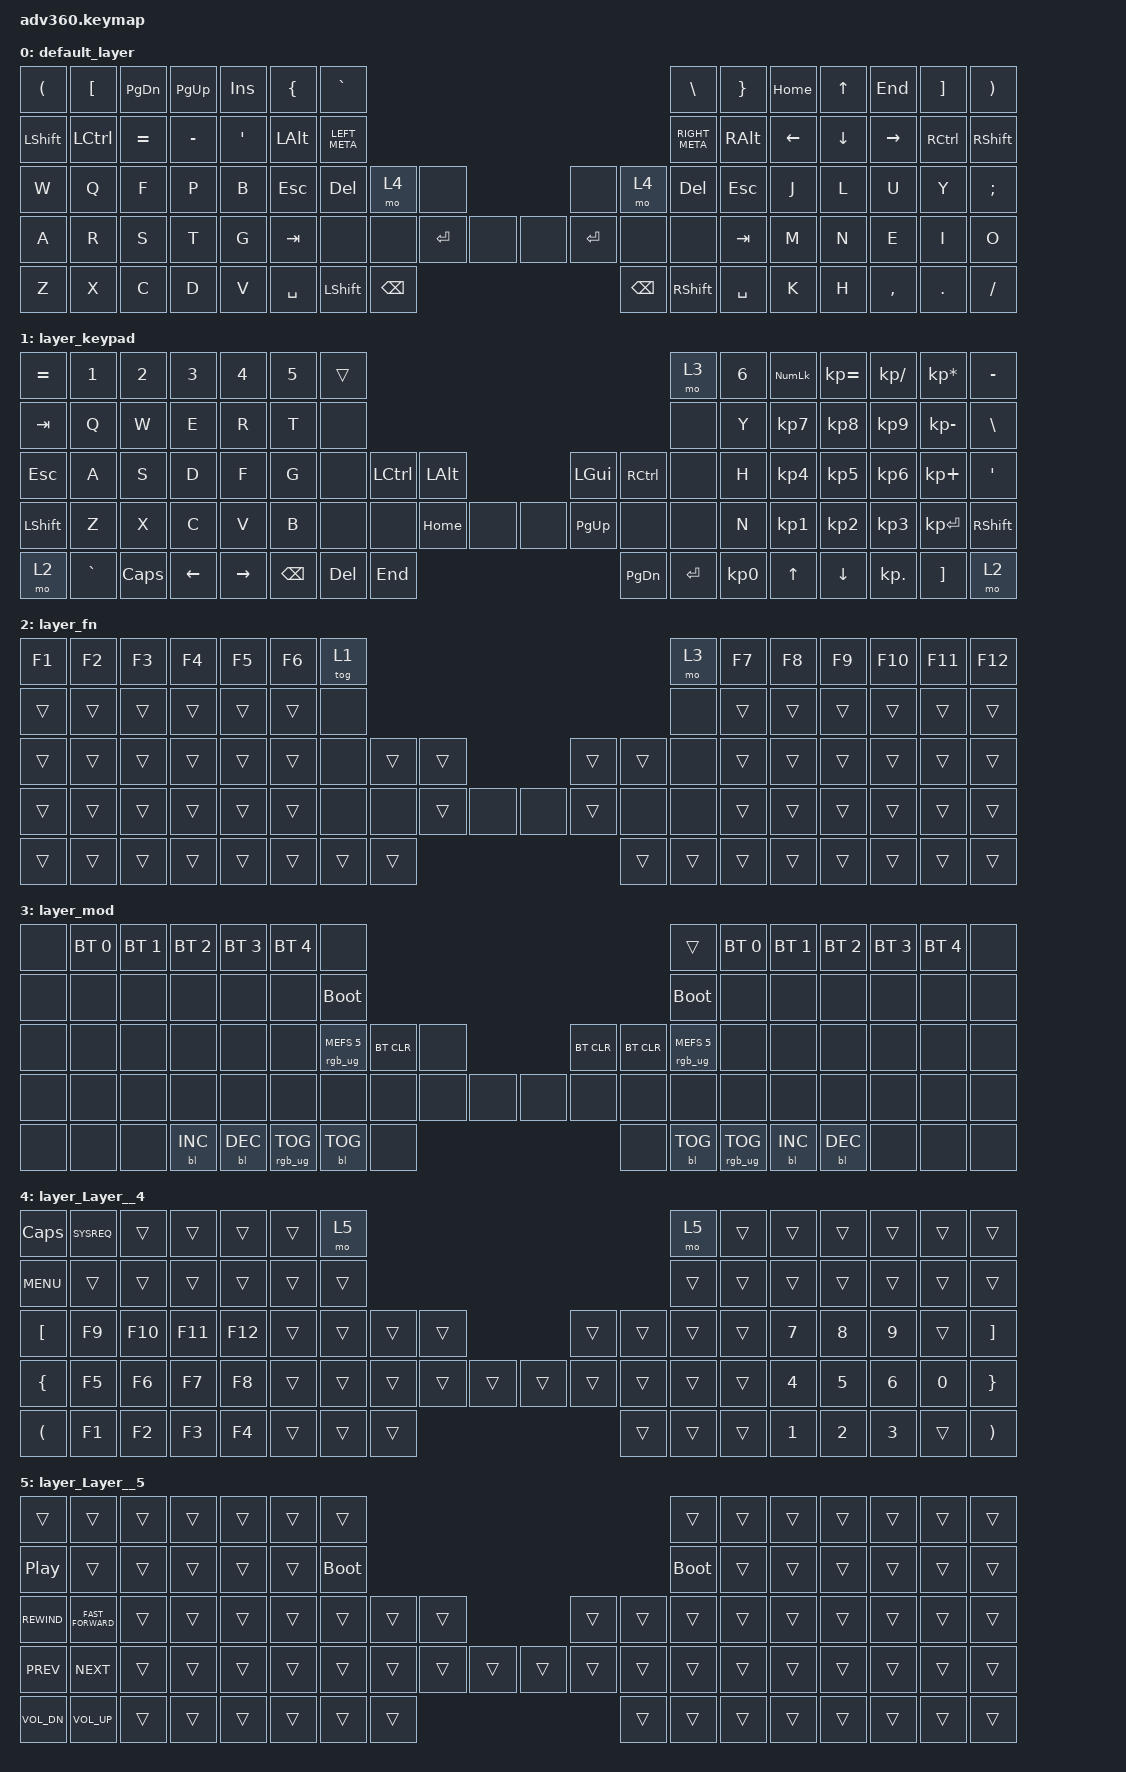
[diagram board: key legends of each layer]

/*
 * Copyright (c) 2020 The ZMK Contributors
 *
 * SPDX-License-Identifier: MIT
 */


/* THIS FILE WAS GENERATED!
 *
 * This file was generated automatically. You may or may not want to
 * edit it directly.
 */

#include <behaviors.dtsi>
#include <dt-bindings/zmk/keys.h>
#include <dt-bindings/zmk/bt.h>
#include <dt-bindings/zmk/rgb.h>
#include <dt-bindings/zmk/backlight.h>

/ {
  behaviors {
    #include "macros.dtsi"

    hm: homerow_mods {
        compatible = "zmk,behavior-hold-tap";
        label = "HOMEROW_MODS";
        #binding-cells = <2>;
        tapping-term-ms = <200>;
        quick_tap_ms = <175>;
        flavor = "tap-preferred";
        bindings = <&kp>, <&kp>;
    };
  };

    keymap {
        compatible = "zmk,keymap";


        default_layer {
            bindings = <
 &kp LEFT_PARENTHESIS  &kp LEFT_BRACKET  &kp PG_DN  &kp PG_UP           &kp INS  &kp LEFT_BRACE                &kp GRAVE                                                                                  &kp BACKSLASH  &kp RIGHT_BRACE        &kp HOME    &kp UP_ARROW          &kp END  &kp RIGHT_BRACKET  &kp RIGHT_PARENTHESIS
       &kp LEFT_SHIFT  &kp LEFT_CONTROL  &kp EQUAL  &kp MINUS  &kp SINGLE_QUOTE    &kp LEFT_ALT            &kp LEFT_META                                                                                 &kp RIGHT_META    &kp RIGHT_ALT  &kp LEFT_ARROW  &kp DOWN_ARROW  &kp RIGHT_ARROW  &kp RIGHT_CONTROL        &kp RIGHT_SHIFT
                &kp W             &kp Q      &kp F      &kp P             &kp B         &kp ESC                  &kp DEL           &mo 4          &none                          &none            &mo 4         &kp DEL          &kp ESC           &kp J           &kp L            &kp U              &kp Y          &kp SEMICOLON
                &kp A             &kp R      &kp S      &kp T             &kp G         &kp TAB                    &none           &none      &kp ENTER   &none   &none      &kp ENTER            &none           &none          &kp TAB           &kp M           &kp N            &kp E              &kp I                  &kp O
                &kp Z             &kp X      &kp C      &kp D             &kp V                                &kp SPACE  &kp LEFT_SHIFT  &kp BACKSPACE                  &kp BACKSPACE  &kp RIGHT_SHIFT       &kp SPACE                            &kp K           &kp H        &kp COMMA            &kp DOT              &kp SLASH
            >;
        };

        layer_keypad {
            bindings = <
 &kp EQUAL     &kp N1    &kp N2    &kp N3     &kp N4  &kp N5              &trans                                                                 &mo 3  &kp N6  &kp KP_NUM  &kp KP_EQUAL  &kp KP_DIVIDE  &kp KP_MULTIPLY  &kp MINUS
   &kp TAB      &kp Q     &kp W     &kp E      &kp R   &kp T               &none                                                                 &none   &kp Y   &kp KP_N7     &kp KP_N8      &kp KP_N9     &kp KP_MINUS   &kp BSLH
   &kp ESC      &kp A     &kp S     &kp D      &kp F   &kp G               &none  &kp LCTRL  &kp LALT                   &kp LGUI  &kp RCTRL      &none   &kp H   &kp KP_N4     &kp KP_N5      &kp KP_N6      &kp KP_PLUS    &kp SQT
 &kp LSHFT      &kp Z     &kp X     &kp C      &kp V   &kp B               &none      &none  &kp HOME   &none   &none  &kp PG_UP      &none      &none   &kp N   &kp KP_N1     &kp KP_N2      &kp KP_N3     &kp KP_ENTER  &kp RSHFT
     &mo 2  &kp GRAVE  &kp CAPS  &kp LEFT  &kp RIGHT                    &kp BSPC    &kp DEL   &kp END                  &kp PG_DN  &kp ENTER  &kp KP_N0              &kp UP      &kp DOWN     &kp KP_DOT         &kp RBKT      &mo 2
            >;
        };

        layer_fn {
            bindings = <
 &kp F1  &kp F2  &kp F3  &kp F4  &kp F5  &kp F6            &tog 1                                                   &mo 3  &kp F7  &kp F8  &kp F9  &kp F10  &kp F11  &kp F12
 &trans  &trans  &trans  &trans  &trans  &trans             &none                                                   &none  &trans  &trans  &trans   &trans   &trans   &trans
 &trans  &trans  &trans  &trans  &trans  &trans             &none  &trans  &trans                  &trans  &trans   &none  &trans  &trans  &trans   &trans   &trans   &trans
 &trans  &trans  &trans  &trans  &trans  &trans             &none   &none  &trans   &none   &none  &trans   &none   &none  &trans  &trans  &trans   &trans   &trans   &trans
 &trans  &trans  &trans  &trans  &trans                    &trans  &trans  &trans                  &trans  &trans  &trans          &trans  &trans   &trans   &trans   &trans
            >;
        };

        layer_mod {
            bindings = <
  &none  &bt BT_SEL 0  &bt BT_SEL 1  &bt BT_SEL 2  &bt BT_SEL 3  &bt BT_SEL 4                             &none                                                                              &trans  &bt BT_SEL 0  &bt BT_SEL 1  &bt BT_SEL 2  &bt BT_SEL 3  &bt BT_SEL 4   &none
  &none         &none         &none         &none         &none         &none                       &bootloader                                                                         &bootloader         &none         &none         &none         &none         &none   &none
  &none         &none         &none         &none         &none         &none            &rgb_ug RGB_MEFS_CMD 5  &bt BT_CLR   &none                  &bt BT_CLR  &bt BT_CLR  &rgb_ug RGB_MEFS_CMD 5         &none         &none         &none         &none         &none   &none
  &none         &none         &none         &none         &none         &none                             &none       &none   &none   &none   &none       &none       &none                   &none         &none         &none         &none         &none         &none   &none
  &none         &none         &none    &bl BL_INC    &bl BL_DEC                                 &rgb_ug RGB_TOG  &bl BL_TOG   &none                       &none  &bl BL_TOG         &rgb_ug RGB_TOG                  &bl BL_INC    &bl BL_DEC         &none         &none   &none
            >;
        };

        layer_Layer__4 {
            bindings = <
             &kp CAPS  &kp SYSREQ   &trans   &trans   &trans  &trans             &mo 5                                                   &mo 5  &trans  &trans  &trans  &trans  &trans                 &trans
           &kp C_MENU      &trans   &trans   &trans   &trans  &trans            &trans                                                  &trans  &trans  &trans  &trans  &trans  &trans                 &trans
     &kp LEFT_BRACKET      &kp F9  &kp F10  &kp F11  &kp F12  &trans            &trans  &trans  &trans                  &trans  &trans  &trans  &trans  &kp N7  &kp N8  &kp N9  &trans      &kp RIGHT_BRACKET
       &kp LEFT_BRACE      &kp F5   &kp F6   &kp F7   &kp F8  &trans            &trans  &trans  &trans  &trans  &trans  &trans  &trans  &trans  &trans  &kp N4  &kp N5  &kp N6  &kp N0        &kp RIGHT_BRACE
 &kp LEFT_PARENTHESIS      &kp F1   &kp F2   &kp F3   &kp F4                    &trans  &trans  &trans                  &trans  &trans  &trans          &kp N1  &kp N2  &kp N3  &trans  &kp RIGHT_PARENTHESIS
            >;
        };

        layer_Layer__5 {
            bindings = <
           &trans              &trans  &trans  &trans  &trans  &trans                 &trans                                                       &trans  &trans  &trans  &trans  &trans  &trans  &trans
 &kp C_PLAY_PAUSE              &trans  &trans  &trans  &trans  &trans            &bootloader                                                  &bootloader  &trans  &trans  &trans  &trans  &trans  &trans
     &kp C_REWIND  &kp C_FAST_FORWARD  &trans  &trans  &trans  &trans                 &trans  &trans  &trans                  &trans  &trans       &trans  &trans  &trans  &trans  &trans  &trans  &trans
       &kp C_PREV          &kp C_NEXT  &trans  &trans  &trans  &trans                 &trans  &trans  &trans  &trans  &trans  &trans  &trans       &trans  &trans  &trans  &trans  &trans  &trans  &trans
     &kp C_VOL_DN        &kp C_VOL_UP  &trans  &trans  &trans                         &trans  &trans  &trans                  &trans  &trans       &trans          &trans  &trans  &trans  &trans  &trans
            >;
        };

    };
};
